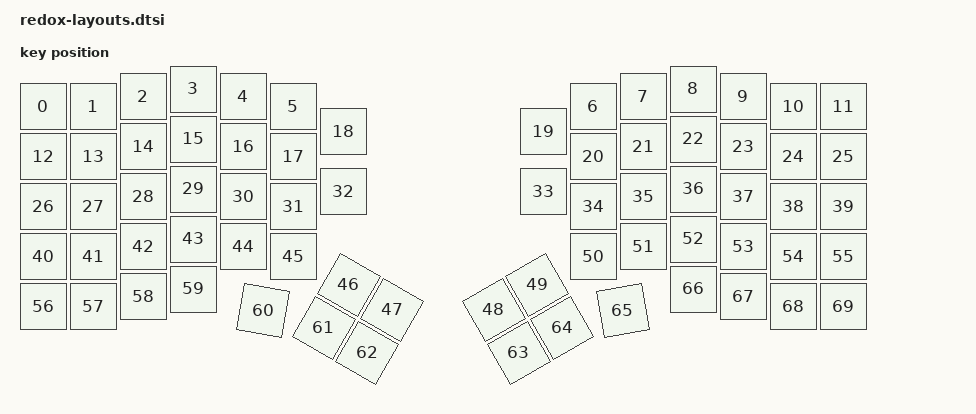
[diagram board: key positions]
/*
 * Copyright (c) 2025 The ZMK Contributors
 *
 * SPDX-License-Identifier: MIT
 */

#include <physical_layouts.dtsi>

/ {
    redox_physical_layout: redox_physical_layout {
        compatible = "zmk,physical-layout";
        display-name = "Default";

        keys  //                     w   h    x    y     rot    rx    ry
            = <&key_physical_attrs 100 100    0   35       0     0     0>
            , <&key_physical_attrs 100 100  100   35       0     0     0>
            , <&key_physical_attrs 100 100  200   15       0     0     0>
            , <&key_physical_attrs 100 100  300    0       0     0     0>
            , <&key_physical_attrs 100 100  400   15       0     0     0>
            , <&key_physical_attrs 100 100  500   35       0     0     0>
            , <&key_physical_attrs 100 100 1100   35       0     0     0>
            , <&key_physical_attrs 100 100 1200   15       0     0     0>
            , <&key_physical_attrs 100 100 1300    0       0     0     0>
            , <&key_physical_attrs 100 100 1400   15       0     0     0>
            , <&key_physical_attrs 100 100 1500   35       0     0     0>
            , <&key_physical_attrs 100 100 1600   35       0     0     0>
            , <&key_physical_attrs 100 100    0  135       0     0     0>
            , <&key_physical_attrs 100 100  100  135       0     0     0>
            , <&key_physical_attrs 100 100  200  115       0     0     0>
            , <&key_physical_attrs 100 100  300  100       0     0     0>
            , <&key_physical_attrs 100 100  400  115       0     0     0>
            , <&key_physical_attrs 100 100  500  135       0     0     0>
            , <&key_physical_attrs 100 100  600   85       0     0     0>
            , <&key_physical_attrs 100 100 1000   85       0     0     0>
            , <&key_physical_attrs 100 100 1100  135       0     0     0>
            , <&key_physical_attrs 100 100 1200  115       0     0     0>
            , <&key_physical_attrs 100 100 1300  100       0     0     0>
            , <&key_physical_attrs 100 100 1400  115       0     0     0>
            , <&key_physical_attrs 100 100 1500  135       0     0     0>
            , <&key_physical_attrs 100 100 1600  135       0     0     0>
            , <&key_physical_attrs 100 100    0  235       0     0     0>
            , <&key_physical_attrs 100 100  100  235       0     0     0>
            , <&key_physical_attrs 100 100  200  215       0     0     0>
            , <&key_physical_attrs 100 100  300  200       0     0     0>
            , <&key_physical_attrs 100 100  400  215       0     0     0>
            , <&key_physical_attrs 100 100  500  235       0     0     0>
            , <&key_physical_attrs 100 100  600  205       0     0     0>
            , <&key_physical_attrs 100 100 1000  205       0     0     0>
            , <&key_physical_attrs 100 100 1100  235       0     0     0>
            , <&key_physical_attrs 100 100 1200  215       0     0     0>
            , <&key_physical_attrs 100 100 1300  200       0     0     0>
            , <&key_physical_attrs 100 100 1400  215       0     0     0>
            , <&key_physical_attrs 100 100 1500  235       0     0     0>
            , <&key_physical_attrs 100 100 1600  235       0     0     0>
            , <&key_physical_attrs 100 100    0  335       0     0     0>
            , <&key_physical_attrs 100 100  100  335       0     0     0>
            , <&key_physical_attrs 100 100  200  315       0     0     0>
            , <&key_physical_attrs 100 100  300  300       0     0     0>
            , <&key_physical_attrs 100 100  400  315       0     0     0>
            , <&key_physical_attrs 100 100  500  335       0     0     0>
            , <&key_physical_attrs 100 100  600  335    3000   550   435>
            , <&key_physical_attrs 100 100  700  335    3000   550   435>
            , <&key_physical_attrs 100 100  900  335 (-3000)  1150   435>
            , <&key_physical_attrs 100 100 1000  335 (-3000)  1150   435>
            , <&key_physical_attrs 100 100 1100  335       0     0     0>
            , <&key_physical_attrs 100 100 1200  315       0     0     0>
            , <&key_physical_attrs 100 100 1300  300       0     0     0>
            , <&key_physical_attrs 100 100 1400  315       0     0     0>
            , <&key_physical_attrs 100 100 1500  335       0     0     0>
            , <&key_physical_attrs 100 100 1600  335       0     0     0>
            , <&key_physical_attrs 100 100    0  435       0     0     0>
            , <&key_physical_attrs 100 100  100  435       0     0     0>
            , <&key_physical_attrs 100 100  200  415       0     0     0>
            , <&key_physical_attrs 100 100  300  400       0     0     0>
            , <&key_physical_attrs 100 100  450  435    1000   450   435>
            , <&key_physical_attrs 100 100  600  435    3000   550   435>
            , <&key_physical_attrs 100 100  700  435    3000   550   435>
            , <&key_physical_attrs 100 100  900  435 (-3000)  1150   435>
            , <&key_physical_attrs 100 100 1000  435 (-3000)  1150   435>
            , <&key_physical_attrs 100 100 1150  435 (-1000)  1250   435>
            , <&key_physical_attrs 100 100 1300  400       0     0     0>
            , <&key_physical_attrs 100 100 1400  415       0     0     0>
            , <&key_physical_attrs 100 100 1500  435       0     0     0>
            , <&key_physical_attrs 100 100 1600  435       0     0     0>
            ;
    };
};
